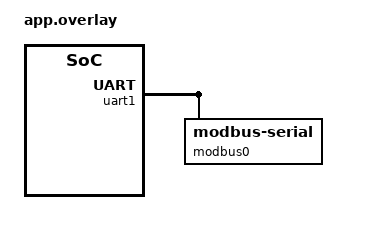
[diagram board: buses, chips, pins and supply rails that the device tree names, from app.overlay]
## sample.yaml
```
sample:
  name: Modbus RTU Server CHERI Sample
tests:
  sample.modbus.rtu_server_cheri:
    build_only: true
    platform_allow:
      - nrf52840dk/nrf52840
      - frdm_k64f
    integration_platforms:
      - nrf52840dk/nrf52840
    tags:
      - uart
      - modbus
    filter: dt_enabled_alias_with_parent_compat("led0", "gpio-leds") and
            dt_enabled_alias_with_parent_compat("led1", "gpio-leds") and
            dt_enabled_alias_with_parent_compat("led2", "gpio-leds")
    depends_on:
      - gpio
      - arduino_serial
  sample.modbus.rtu_server.cdc_acm:
    build_only: true
    platform_allow:
      - nrf52840dk/nrf52840
      - frdm_k64f
    integration_platforms:
      - nrf52840dk/nrf52840
    tags:
      - usb
      - modbus
    filter: dt_enabled_alias_with_parent_compat("led0", "gpio-leds") and
            dt_enabled_alias_with_parent_compat("led1", "gpio-leds") and
            dt_enabled_alias_with_parent_compat("led2", "gpio-leds")
    extra_args:
      - EXTRA_CONF_FILE="overlay-cdc-acm.conf"
      - DTC_OVERLAY_FILE="cdc-acm.overlay"
    depends_on: usb_device
```

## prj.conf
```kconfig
CONFIG_LOG=y
CONFIG_GPIO=y
CONFIG_SERIAL=y
CONFIG_UART_INTERRUPT_DRIVEN=y
CONFIG_UART_LINE_CTRL=n

CONFIG_MODBUS=y
CONFIG_MODBUS_ROLE_SERVER=y
CONFIG_MODBUS_LOG_LEVEL_DBG=y

CONFIG_LOG_MODE_MINIMAL=y
```

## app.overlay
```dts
/*
 * Copyright (c) 2020 Phytec Messtechnik GmbH
 *
 * SPDX-License-Identifier: Apache-2.0
 */

&uart1 {
	status = "okay";

	modbus0 {
		compatible = "zephyr,modbus-serial";
		status = "okay";
	};
};
```

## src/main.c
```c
/*
 * Copyright (c) 2020 PHYTEC Messtechnik GmbH
 * Copyright (c) 2022 Nordic Semiconductor ASA
 *
 * SPDX-License-Identifier: Apache-2.0
 */

#include <zephyr/kernel.h>
#include <zephyr/sys/util.h>
#include <zephyr/drivers/gpio.h>
#include <zephyr/modbus/modbus.h>
#include <zephyr/usb/usb_device.h>

#include <zephyr/logging/log.h>
LOG_MODULE_REGISTER(mbs_sample, LOG_LEVEL_INF);

static uint16_t holding_reg[8];
static uint8_t coils_state;

#ifdef MODUS_SERVER_CHERI_HAS_LED
static const struct gpio_dt_spec led_dev[] = {
	GPIO_DT_SPEC_GET(DT_ALIAS(led0), gpios),
	GPIO_DT_SPEC_GET(DT_ALIAS(led1), gpios),
	GPIO_DT_SPEC_GET(DT_ALIAS(led2), gpios),
};
#endif

static int coil_rd(uint16_t addr, bool *state)
{
#ifdef MODUS_SERVER_CHERI_HAS_LED
	if (addr >= ARRAY_SIZE(led_dev)) {
		return -ENOTSUP;
	}
#endif

	if (coils_state & BIT(addr)) {
		*state = true;
	} else {
		*state = false;
	}

	LOG_INF("Coil read, addr %u, %d", addr, (int)*state);

	return 0;
}

static int coil_wr(uint16_t addr, bool state)
{
	bool on;

#ifdef MODUS_SERVER_CHERI_HAS_LED
	if (addr >= ARRAY_SIZE(led_dev)) {
		return -ENOTSUP;
	}
#endif


	if (state == true) {
		coils_state |= BIT(addr);
		on = true;
	} else {
		coils_state &= ~BIT(addr);
		on = false;
	}

#ifdef MODUS_SERVER_CHERI_HAS_LED
	gpio_pin_set(led_dev[addr].port, led_dev[addr].pin, (int)on);
#endif

	LOG_INF("Coil write, addr %u, %d", addr, (int)state);

	return 0;
}

static int holding_reg_rd(uint16_t addr, uint16_t *reg)
{
	if (addr >= ARRAY_SIZE(holding_reg)) {
		return -ENOTSUP;
	}

	*reg = holding_reg[addr];

	LOG_INF("Holding register read, addr %u", addr);

	return 0;
}

static int holding_reg_wr(uint16_t addr, uint16_t reg)
{
	if (addr >= ARRAY_SIZE(holding_reg)) {
		return -ENOTSUP;
	}

	holding_reg[addr] = reg;

	LOG_INF("Holding register write, addr %u", addr);

	return 0;
}

static struct modbus_user_callbacks mbs_cbs = {
	.coil_rd = coil_rd,
	.coil_wr = coil_wr,
	.holding_reg_rd = holding_reg_rd,
	.holding_reg_wr = holding_reg_wr,
};

const static struct modbus_iface_param server_param = {
	.mode = MODBUS_MODE_RTU,
	.server = {
		.user_cb = &mbs_cbs,
		.unit_id = 1,
	},
	.serial = {
		.baud = 38400,
		.parity = UART_CFG_PARITY_NONE,
	},
};

#define MODBUS_NODE DT_COMPAT_GET_ANY_STATUS_OKAY(zephyr_modbus_serial)

static int init_modbus_server(void)
{
	const char iface_name[] = {DEVICE_DT_NAME(MODBUS_NODE)};
	int iface;

	iface = modbus_iface_get_by_name(iface_name);

	if (iface < 0) {
		LOG_ERR("Failed to get iface index for %s", iface_name);
		return iface;
	}

	int r = modbus_init_server(iface, server_param);
	return r;
}

int main(void)
{
	int err;

#ifdef MODUS_SERVER_CHERI_HAS_LED
	for (int i = 0; i < ARRAY_SIZE(led_dev); i++) {
		if (!gpio_is_ready_dt(&led_dev[i])) {
			LOG_ERR("LED%u GPIO device not ready", i);
			return 0;
		}

		err = gpio_pin_configure_dt(&led_dev[i], GPIO_OUTPUT_INACTIVE);
		if (err != 0) {
			LOG_ERR("Failed to configure LED%u pin", i);
			return 0;
		}
	}
#endif

#if DT_NODE_HAS_COMPAT(DT_PARENT(MODBUS_NODE), zephyr_cdc_acm_uart)
	const struct device *const dev = DEVICE_DT_GET(DT_PARENT(MODBUS_NODE));
	uint32_t dtr = 0;

	if (!device_is_ready(dev) || usb_enable(NULL)) {
		return 0;
	}

	while (!dtr) {
		uart_line_ctrl_get(dev, UART_LINE_CTRL_DTR, &dtr);
		k_sleep(K_MSEC(100));
	}

	LOG_INF("Client connected to server on %s", dev->name);
#endif

	if (init_modbus_server() != 0) {
		LOG_ERR("Modbus RTU server initialization failed");
	}

	return 0;
}
```
